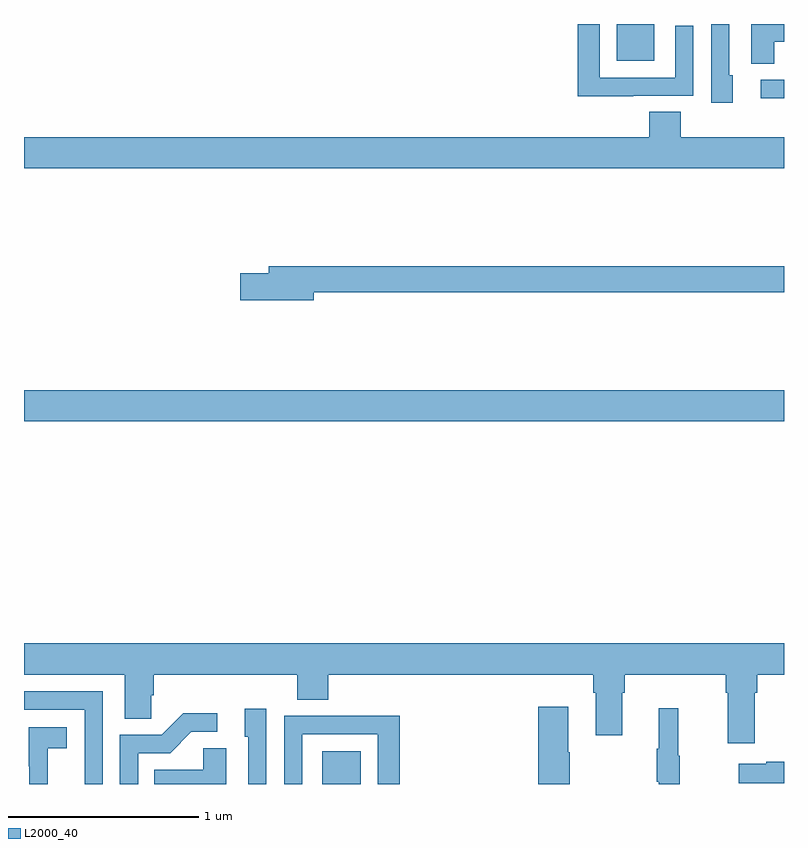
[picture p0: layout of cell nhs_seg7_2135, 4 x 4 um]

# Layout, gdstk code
import gdstk
lib = gdstk.Library(unit=1e-6, precision=1e-09)
def R(c, l, rs):  # rectangles x0, y0, x1, y1
    for r in rs: c.add(gdstk.rectangle(r[:2], r[2:], *l))
def P(c, l, *ps):  # polygons
    for p in ps: c.add(gdstk.Polygon(p, *l))
L2000_40 = (2000, 40)

nhs_seg7_2135 = lib.new_cell('nhs_seg7_2135')
R(nhs_seg7_2135, L2000_40, [(252.569,1040,252.772,1040.173), (251,1041.908,255,1042.072), (254.877,1043.609,255,1043.706), (254.12,1043.807,254.317,1044)])
P(nhs_seg7_2135, L2000_40, [(254.949,1043.906),(255,1043.906),(255,1044),(254.828,1044),(254.828,1043.791),(254.949,1043.791)],
  [(254.207,1043.622),(254.523,1043.622),(254.523,1043.992),(254.427,1043.992),(254.427,1043.718),(254.031,1043.718),(254.031,1044),(253.915,1044),(253.915,1043.621),(254.207,1043.621)],
  [(254.731,1043.73),(254.712,1043.73),(254.712,1044),(254.616,1044),(254.616,1043.586),(254.731,1043.586)],
  [(255,1043.404),(254.456,1043.404),(254.456,1043.537),(254.291,1043.537),(254.291,1043.404),(251,1043.404),(251,1043.24),(255,1043.24)],
  [(252.526,1042.588),(255,1042.588),(255,1042.724),(252.287,1042.724),(252.287,1042.688),(252.138,1042.688),(252.138,1042.546),(252.526,1042.546)],
  [(254.845,1040.48),(254.858,1040.48),(254.858,1040.576),(255,1040.576),(255,1040.74),(251,1040.74),(251,1040.576),(251.531,1040.576),(251.531,1040.344),(251.67,1040.344),(251.67,1040.467),(251.684,1040.467),(251.684,1040.576),(252.437,1040.576),(252.437,1040.443),(252.602,1040.443),(252.602,1040.576),(253.997,1040.576),(253.997,1040.48),(254.009,1040.48),(254.009,1040.256),(254.149,1040.256),(254.149,1040.48),(254.162,1040.48),(254.162,1040.576),(254.693,1040.576),(254.693,1040.48),(254.705,1040.48),(254.705,1040.214),(254.845,1040.214)],
  [(251.415,1040.487),(251,1040.487),(251,1040.391),(251.319,1040.391),(251.319,1040),(251.415,1040)],
  [(253.872,1040.168),(253.864,1040.168),(253.864,1040.407),(253.706,1040.407),(253.706,1040),(253.872,1040)],
  [(254.452,1040.148),(254.444,1040.148),(254.444,1040.398),(254.342,1040.398),(254.342,1040.185),(254.331,1040.185),(254.331,1040.011),(254.342,1040.011),(254.342,1040),(254.452,1040)],
  [(252.276,1040.395),(252.161,1040.395),(252.161,1040.25),(252.18,1040.25),(252.18,1040),(252.276,1040)],
  [(251.601,1040.163),(251.77,1040.163),(251.881,1040.274),(252.016,1040.274),(252.016,1040.372),(251.837,1040.372),(251.724,1040.259),(251.505,1040.259),(251.505,1040),(251.601,1040)],
  [(252.465,1040.262),(252.861,1040.262),(252.861,1040),(252.977,1040),(252.977,1040.36),(252.685,1040.36),(252.685,1040.358),(252.369,1040.358),(252.369,1040),(252.465,1040)],
  [(251.126,1040.189),(251.224,1040.189),(251.224,1040.299),(251.026,1040.299),(251.026,1040.093),(251.027,1040.093),(251.027,1040),(251.126,1040)],
  [(252.064,1040.189),(251.943,1040.189),(251.943,1040.074),(251.686,1040.074),(251.686,1040),(252.064,1040)],
  [(255,1040.117),(254.906,1040.117),(254.906,1040.107),(254.763,1040.107),(254.763,1040.003),(255,1040.003)])

lib.write_gds('nhs_seg7_2135.gds')
